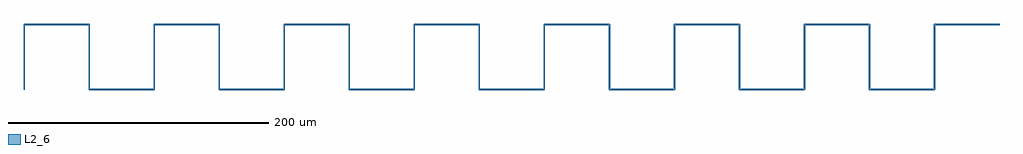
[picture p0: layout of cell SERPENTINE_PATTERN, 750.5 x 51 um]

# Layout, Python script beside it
import gdspy

# Create a new GDSII library
lib = gdspy.GdsLibrary()

# Define the cell where the serpentine pattern will be created
cell = lib.new_cell('SERPENTINE_PATTERN')

# Parameters
path_width = 1.0  # Path width in micrometers
turns = 15  # Number of turns
segment_length = 50.0  # Length and height of each segment in micrometers
start_point = (0, 0)  # Starting point of the pattern
layer = 2  # GDSII layer number
datatype = 6  # GDSII datatype number

# Initialize the path
path = gdspy.Path(path_width, start_point)

# Generate the serpentine path
for i in range(turns):
    if i % 2 == 0:
        path.segment(segment_length, '+y', layer=layer, datatype=datatype)
        path.segment(segment_length, '+x', layer=layer, datatype=datatype)
    else:
        path.segment(segment_length, '-y', layer=layer, datatype=datatype)
        path.segment(segment_length, '+x', layer=layer, datatype=datatype)

# Add the path to the cell
cell.add(path)

# Save the library to a GDSII file
lib.write_gds('serpentine_pattern.gds')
